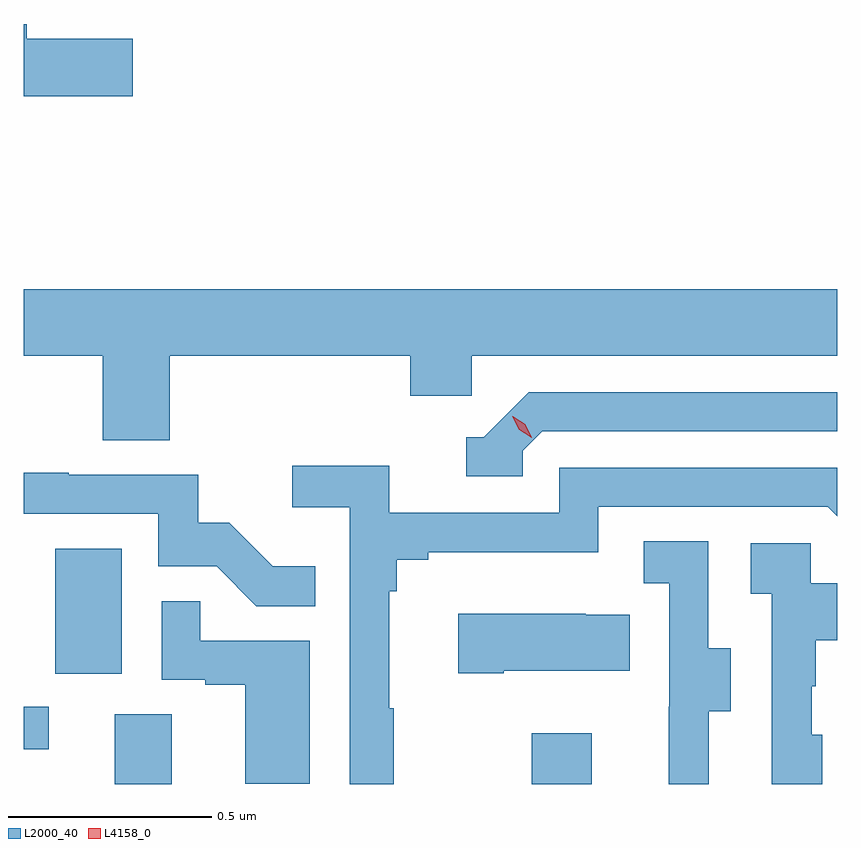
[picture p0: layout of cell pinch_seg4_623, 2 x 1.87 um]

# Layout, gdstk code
import gdstk
lib = gdstk.Library(unit=1e-6, precision=1e-09)
def R(c, l, rs):  # rectangles x0, y0, x1, y1
    for r in rs: c.add(gdstk.rectangle(r[:2], r[2:], *l))
def P(c, l, *ps):  # polygons
    for p in ps: c.add(gdstk.Polygon(p, *l))
L2000_40 = (2000, 40)
L4158_0 = (4158, 0)

pinch_seg4_623 = lib.new_cell('pinch_seg4_623')
R(pinch_seg4_623, L2000_40, [(1022.609,782.447,1022.749,782.618), (1023.634,782.447,1023.781,782.572), (1022.385,782.532,1022.446,782.637), (1022.462,782.718,1022.626,783.025)])
P(pinch_seg4_623, L2000_40, [(1022.653,784.28),(1022.392,784.28),(1022.392,784.316),(1022.385,784.316),(1022.385,784.138),(1022.653,784.138)],
  [(1022.744,783.5),(1023.335,783.5),(1023.335,783.402),(1023.486,783.402),(1023.486,783.5),(1024.385,783.5),(1024.385,783.664),(1022.385,783.664),(1022.385,783.5),(1022.579,783.5),(1022.579,783.292),(1022.744,783.292)],
  [(1023.612,783.267),(1023.66,783.315),(1024.385,783.315),(1024.385,783.411),(1023.627,783.411),(1023.516,783.3),(1023.473,783.3),(1023.473,783.204),(1023.612,783.204)],
  [(1023.295,782.633),(1023.283,782.633),(1023.283,782.921),(1023.302,782.921),(1023.302,782.998),(1023.379,782.998),(1023.379,783.017),(1023.798,783.017),(1023.798,783.129),(1024.362,783.129),(1024.385,783.106),(1024.385,783.225),(1023.702,783.225),(1023.702,783.114),(1023.284,783.114),(1023.284,783.23),(1023.045,783.23),(1023.045,783.128),(1023.186,783.128),(1023.186,782.447),(1023.295,782.447)],
  [(1023.101,782.983),(1022.997,782.983),(1022.89,783.09),(1022.814,783.09),(1022.814,783.207),(1022.495,783.207),(1022.495,783.212),(1022.385,783.212),(1022.385,783.111),(1022.715,783.111),(1022.715,782.982),(1022.859,782.982),(1022.957,782.884),(1023.101,782.884)],
  [(1024.069,782.626),(1024.123,782.626),(1024.123,782.781),(1024.068,782.781),(1024.068,783.044),(1023.909,783.044),(1023.909,782.941),(1023.972,782.941),(1023.972,782.637),(1023.971,782.637),(1023.971,782.447),(1024.069,782.447)],
  [(1024.348,782.568),(1024.323,782.568),(1024.323,782.687),(1024.333,782.687),(1024.333,782.801),(1024.385,782.801),(1024.385,782.941),(1024.32,782.941),(1024.32,783.039),(1024.173,783.039),(1024.173,782.915),(1024.224,782.915),(1024.224,782.447),(1024.348,782.447)],
  [(1023.088,782.799),(1022.819,782.799),(1022.819,782.897),(1022.724,782.897),(1022.724,782.703),(1022.831,782.703),(1022.831,782.691),(1022.93,782.691),(1022.93,782.448),(1023.088,782.448)],
  [(1023.565,782.726),(1023.875,782.726),(1023.875,782.863),(1023.767,782.863),(1023.767,782.866),(1023.453,782.866),(1023.453,782.719),(1023.565,782.719)])
P(pinch_seg4_623, L4158_0, [(1023.634,783.299),(1023.603,783.318),(1023.586,783.351),(1023.586,783.351),(1023.587,783.351),(1023.618,783.332),(1023.634,783.3),(1023.634,783.299)])

lib.write_gds('pinch_seg4_623.gds')
